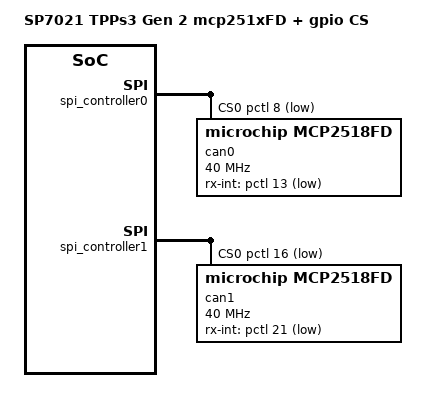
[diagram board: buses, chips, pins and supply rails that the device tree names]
/*
 * Linux TPP3 Gen 2 - LTPP3g2 base board definition
 * Copyright (C) 2020 Tibbo Tech. - http://tibbo.com/tps/
 * License: GPLv2 or later
 */
/dts-v1/;

#include "sp7021-ltpp3g2revD.dtsi"

/ {
    model = "SP7021 TPPs3 Gen 2 mcp251xFD + gpio CS";
    clocks {
	can0_clk: can0_clk {
		compatible = "fixed-clock";
		#clock-cells = <0>;
		clock-frequency  = <10000000>;	// 10
//		clock-frequency  = <1100000>;	// 10
//		clock-frequency  = <110000>;	// 10
	};
	can1_clk: can1_clk {
		compatible = "fixed-clock";
		#clock-cells = <0>;
		clock-frequency  = <10000000>; // 10
//		clock-frequency  = <1100000>; // 10
//		clock-frequency  = <110000>; // 10
	};
    };
};

/* 51 (SPI) on s1 */
&spi_controller0 {  status = "okay";
  pinctrl-names = "default";
  pinctrl-0 = <&pins_spim0>;
  tps-sock = "s1";
cs-gpios = <&pctl 8 GPIO_ACTIVE_LOW>;
//num-chipselects = <1>;
  can0: can@0 {
    pinctrl-names = "default";
    pinctrl-0 = <&pins_spidev0>;
    compatible = "microchip,mcp2518fd";
    reg = <0>;
    spi-max-frequency = <40000000>;
    clocks = <&can0_clk>;
    interrupt-parent = <&intc>;
    interrupts = <120 IRQ_TYPE_LEVEL_LOW>;
    microchip,rx-int-gpios = <&pctl 13 GPIO_ACTIVE_LOW>;
//    dv_iocon = <0x80000000>;
    dv_iocon = <0x20030300>;
//    dv_oscva = <0x60>;
    dv_oscva = <0x80000000>;
//    dv_nober;
//    dv_noslp;
  };
};
/* 51 (SPI) on s5 */
&spi_controller1 {  status = "okay";
  pinctrl-names = "default";
  pinctrl-0 = <&pins_spim1>;
cs-gpios = <&pctl 16 GPIO_ACTIVE_LOW>;
//num-chipselects = <1>;
  tps-sock = "s5";
  can1: can@0 {
    pinctrl-names = "default";
    pinctrl-0 = <&pins_spidev1>;
    compatible = "microchip,mcp2518fd";
    reg = <0>;
    spi-max-frequency = <40000000>;
    clocks = <&can1_clk>;
    interrupt-parent = <&intc>;
    interrupts = <121 IRQ_TYPE_LEVEL_LOW>;
    microchip,rx-int-gpios = <&pctl 21 GPIO_ACTIVE_LOW>;
//    dv_iocon = <0x20000000>;
//    dv_iocon = <0x80000000>;
    dv_iocon = <0x20030300>;
//    dv_oscva = <0x60>;
    dv_oscva = <0x80000000>;
//    dv_nober;
//    dv_noslp;
  };
};
&pctl {
/* 51 (SPI) on s1 */
 pins_spim0: pins_spim0 {
 sppctl,pins = <
//      SPPCTL_IOPAD(8,SPPCTL_PCTL_G_PMUX,MUXF_SPIM0_EN,0)
      SPPCTL_IOPAD(8,SPPCTL_PCTL_G_GPIO,0,0)
      SPPCTL_IOPAD(9,SPPCTL_PCTL_G_PMUX,MUXF_SPIM0_DI,0)
      SPPCTL_IOPAD(10,SPPCTL_PCTL_G_PMUX,MUXF_SPIM0_DO,0)
      SPPCTL_IOPAD(11,SPPCTL_PCTL_G_PMUX,MUXF_SPIM0_CLK,0)
    >;
 };
 pins_spidev0: pins_spidev0 {
 sppctl,pins = <
      SPPCTL_IOPAD(12,SPPCTL_PCTL_G_GPIO,0,0)
      SPPCTL_IOPAD(13,SPPCTL_PCTL_G_GPIO,0,0)	// mcp int1 should be GPIO
      SPPCTL_IOPAD(14,SPPCTL_PCTL_G_GPIO,0,0)	// SOF
      SPPCTL_IOPAD(15,SPPCTL_PCTL_G_PMUX,MUXF_GPIO_INT0,0)	// mcp int
//      SPPCTL_IOPAD(15,SPPCTL_PCTL_G_GPIO,0,0)	// mcp int
    >;
 };
 pins_spim1: pins_spim1 {
 sppctl,pins = <
//      SPPCTL_IOPAD(16,SPPCTL_PCTL_G_PMUX,MUXF_SPIM1_EN,0)
      SPPCTL_IOPAD(16,SPPCTL_PCTL_G_GPIO,0,0)
      SPPCTL_IOPAD(17,SPPCTL_PCTL_G_PMUX,MUXF_SPIM1_DI,0)
      SPPCTL_IOPAD(18,SPPCTL_PCTL_G_PMUX,MUXF_SPIM1_DO,0)
      SPPCTL_IOPAD(19,SPPCTL_PCTL_G_PMUX,MUXF_SPIM1_CLK,0)
    >;
 };
 pins_spidev1: pins_spidev1 {
 sppctl,pins = <
      SPPCTL_IOPAD(20,SPPCTL_PCTL_G_GPIO,0,0)
      SPPCTL_IOPAD(21,SPPCTL_PCTL_G_GPIO,0,0)
      SPPCTL_IOPAD(22,SPPCTL_PCTL_G_GPIO,0,0)
      SPPCTL_IOPAD(23,SPPCTL_PCTL_G_PMUX,MUXF_GPIO_INT1,0)	// mcp int
//      SPPCTL_IOPAD(23,SPPCTL_PCTL_G_GPIO,0,0)	// mcp int
    >;
 };

};

/ {
    soc@B {

    };
};
